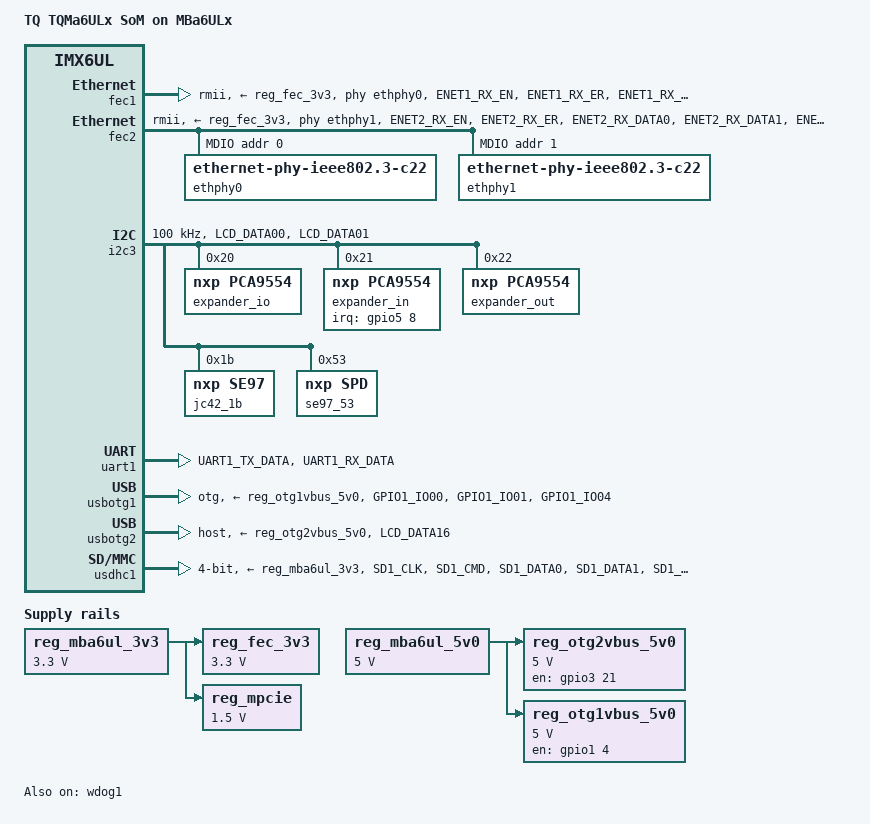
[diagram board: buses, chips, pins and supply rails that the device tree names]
// SPDX-License-Identifier: (GPL-2.0-or-later OR MIT)
/*
 * Copyright 2016 TQ Systems GmbH
 * Author: Marco Felsch
 */

/dts-v1/;

#include <dt-bindings/input/input.h>
#include "imx6ul-tqma6ulx.dtsi"

/ {
	model = "TQ TQMa6ULx SoM on MBa6ULx";
	compatible = "tq,mba6ulx", "tq,imx6ul-tqma6ul2l", "fsl,imx6ul";

	chosen {
		stdout-path = &uart1;
	};

	reg_mba6ul_3v3: regulator-mba6ul-3v3 {
		compatible = "regulator-fixed";
		regulator-name = "supply-mba6ul-3v3";
		regulator-min-microvolt = <3300000>;
		regulator-max-microvolt = <3300000>;
		regulator-always-on;
	};

	reg_mba6ul_5v0: regulator-mba6ul-5v0 {
		compatible = "regulator-fixed";
		regulator-name = "supply-mba6ul-5v0";
		regulator-min-microvolt = <5000000>;
		regulator-max-microvolt = <5000000>;
		regulator-always-on;
	};

	reg_otg2vbus_5v0: regulator-otg2-vbus-5v0 {
		compatible = "regulator-fixed";
		gpio = <&gpio3 21 GPIO_ACTIVE_HIGH>;
		enable-active-high;
		regulator-name = "otg2-vbus-supply-5v0";
		regulator-min-microvolt = <5000000>;
		regulator-max-microvolt = <5000000>;
		vin-supply = <&reg_mba6ul_5v0>;
	};

	reg_otg1vbus_5v0: regulator-otg1-vbus-5v0 {
		compatible = "regulator-fixed";
		gpio = <&gpio1 4 GPIO_ACTIVE_HIGH>;
		enable-active-high;
		regulator-name = "otg1-vbus-supply-5v0";
		regulator-min-microvolt = <5000000>;
		regulator-max-microvolt = <5000000>;
		vin-supply = <&reg_mba6ul_5v0>;
	};

	reg_fec_3v3: regulator-fec-3v3 {
		compatible = "regulator-fixed";
		regulator-name = "fec-3v3";
		regulator-min-microvolt = <3300000>;
		regulator-max-microvolt = <3300000>;
		regulator-always-on;
		vin-supply = <&reg_mba6ul_3v3>;
	};

	reg_mpcie: regulator-mpcie-1v5 {
		compatible = "regulator-fixed";
		pinctrl-names = "default";
		regulator-name = "mpcie-1v5";
		/* gpio = <&gpio1 3 GPIO_ACTIVE_HIGH>; */
		enable-active-high;
		regulator-min-microvolt = <1500000>;
		regulator-max-microvolt = <1500000>;
		vin-supply = <&reg_mba6ul_3v3>;
	};
};

&fec1 {
	pinctrl-names = "default";
	pinctrl-0 = <&pinctrl_enet1>;
	phy-mode = "rmii";
	phy-handle = <&ethphy0>;
	phy-supply = <&reg_fec_3v3>;
	phy-reset-gpios = <&gpio3 9 GPIO_ACTIVE_LOW>;
	phy-reset-duration = <26>;
	status = "okay";
};

&fec2 {
	pinctrl-names = "default";
	pinctrl-0 = <&pinctrl_enet2>;
	phy-mode = "rmii";
	phy-handle = <&ethphy1>;
	phy-supply = <&reg_fec_3v3>;
	phy-reset-gpios = <&gpio3 10 GPIO_ACTIVE_HIGH>;
	phy-reset-duration = <26>;
	status = "okay";

	mdio {
		#address-cells = <1>;
		#size-cells = <0>;

		ethphy0: ethernet-phy@0 {
			compatible = "ethernet-phy-ieee802.3-c22";
			max-speed = <100>;
			reg = <0>;
			/* ToDo: check if following 2 lines are required */
			clocks = <&clks IMX6UL_CLK_ENET_REF>;
			clock-names = "rmii-ref";
		};

		ethphy1: ethernet-phy@1 {
			compatible = "ethernet-phy-ieee802.3-c22";
			max-speed = <100>;
			reg = <1>;
			/* ToDo: check if following 2 lines are required */
			clocks = <&clks IMX6UL_CLK_ENET2_REF>;
			clock-names = "rmii-ref";
		};
	};
};

&i2c3 {
	clock-frequency = <100000>;
	pinctrl-names = "default";
	pinctrl-0 = <&pinctrl_i2c3>;
	status = "okay";

	expander_io: gpio-expander@20 {
		compatible = "nxp,pca9554";
		reg = <0x20>;
		gpio-controller;
		#gpio-cells = <2>;
		status = "okay";
	};

	expander_in: gpio-expander@21 {
		compatible = "nxp,pca9554";
		reg = <0x21>;
		pinctrl-names = "default";
		pinctrl-0 = <&pinctrl_expander_irq>;
		interrupt-parent = <&gpio5>;
		interrupts = <8 IRQ_TYPE_LEVEL_LOW>;
		interrupt-controller;
		#interrupt-cells = <2>;
		gpio-controller;
		#gpio-cells = <2>;
		status = "okay";
	};

	expander_out: gpio-expander@22 {
		compatible = "nxp,pca9554";
		reg = <0x22>;
		gpio-controller;
		#gpio-cells = <2>;
		status = "okay";
	};


	/* NXP SE97BTP with temperature sensor + eeprom */
	jc42_1b: eeprom-temperature-sensor@1b {
		compatible = "nxp,se97", "jedec,jc-42.4-temp";
		reg = <0x1b>;
		status = "okay";
	};

	se97_53: eeprom-temperature-sensor@53 {
		compatible = "nxp,spd";
		reg = <0x53>;
		pagesize = <16>;
		status = "okay";
	};

};


&iomuxc {
	pinctrl-names = "default";

	pinctrl_i2c3: i2c3grp {
		fsl,pins = <
			MX6UL_PAD_LCD_DATA00__I2C3_SDA	0x4001b8b0
			MX6UL_PAD_LCD_DATA01__I2C3_SCL	0x4001b8b0
		>;
	};

	pinctrl_enet1: enet1grp {
		fsl,pins = <
			MX6UL_PAD_ENET1_RX_EN__ENET1_RX_EN	0x1b0b0
			MX6UL_PAD_ENET1_RX_ER__ENET1_RX_ER	0x1b0b0
			MX6UL_PAD_ENET1_RX_DATA0__ENET1_RDATA00	0x1b0b0
			MX6UL_PAD_ENET1_RX_DATA1__ENET1_RDATA01	0x1b0b0
			MX6UL_PAD_ENET1_TX_DATA0__ENET1_TDATA00	0x1b0b0
			MX6UL_PAD_ENET1_TX_DATA1__ENET1_TDATA01	0x1b0b0
			MX6UL_PAD_ENET1_TX_EN__ENET1_TX_EN	0x1b0b0
			MX6UL_PAD_ENET1_TX_CLK__ENET1_REF_CLK1	0x4001b0a8
		>;
	};

	pinctrl_enet2: enet2grp {
		fsl,pins = <
			MX6UL_PAD_ENET2_RX_EN__ENET2_RX_EN	0x1b0b0
			MX6UL_PAD_ENET2_RX_ER__ENET2_RX_ER	0x1b0b0
			MX6UL_PAD_ENET2_RX_DATA0__ENET2_RDATA00	0x1b0b0
			MX6UL_PAD_ENET2_RX_DATA1__ENET2_RDATA01	0x1b0b0
			MX6UL_PAD_ENET2_TX_DATA0__ENET2_TDATA00	0x1b0a0
			MX6UL_PAD_ENET2_TX_DATA1__ENET2_TDATA01	0x1b0a0
			MX6UL_PAD_ENET2_TX_EN__ENET2_TX_EN	0x1b0b0
			MX6UL_PAD_ENET2_TX_CLK__ENET2_REF_CLK2	0x4001b0a8
			/* mdio */
			MX6UL_PAD_GPIO1_IO07__ENET2_MDC		0x1b0b0
			MX6UL_PAD_GPIO1_IO06__ENET2_MDIO	0x1b0b0
		>;
	};

	pinctrl_expander_irq: expanderirqgrp {
		fsl,pins = <
			MX6UL_PAD_SNVS_TAMPER8__GPIO5_IO08	0x1b0b1
		>;
	};

	pinctrl_uart1: uart1grp {
		fsl,pins = <
			MX6UL_PAD_UART1_TX_DATA__UART1_DCE_TX	0x1b0b1
			MX6UL_PAD_UART1_RX_DATA__UART1_DCE_RX	0x1b0b1
		>;
	};

	pinctrl_usb_otg1: usbotg1grp {
		fsl,pins = <
			MX6UL_PAD_GPIO1_IO00__ANATOP_OTG1_ID	0x00017059
			MX6UL_PAD_GPIO1_IO01__USB_OTG1_OC	0x0001b0b0
			/* PWR */
			MX6UL_PAD_GPIO1_IO04__GPIO1_IO04	0x0001b099
		>;
	};

	pinctrl_usb_otg2: usbotg2grp {
		fsl,pins = <
			/* reset */
			MX6UL_PAD_LCD_DATA16__GPIO3_IO21	0x0001b099
		>;
	};

	pinctrl_usdhc1: usdhc1grp {
		fsl,pins = <
			MX6UL_PAD_SD1_CLK__USDHC1_CLK		0x00017069
			MX6UL_PAD_SD1_CMD__USDHC1_CMD		0x00017059
			MX6UL_PAD_SD1_DATA0__USDHC1_DATA0	0x00017059
			MX6UL_PAD_SD1_DATA1__USDHC1_DATA1	0x00017059
			MX6UL_PAD_SD1_DATA2__USDHC1_DATA2	0x00017059
			MX6UL_PAD_SD1_DATA3__USDHC1_DATA3	0x00017059
			/* CD */
			MX6UL_PAD_UART1_RTS_B__GPIO1_IO19		0x0001b099
		>;
	};

	pinctrl_usdhc1_100mhz: usdhc1grp100mhz {
		fsl,pins = <
			MX6UL_PAD_SD1_CLK__USDHC1_CLK		0x00017069
			MX6UL_PAD_SD1_CMD__USDHC1_CMD		0x000170b9
			MX6UL_PAD_SD1_DATA0__USDHC1_DATA0	0x000170b9
			MX6UL_PAD_SD1_DATA1__USDHC1_DATA1	0x000170b9
			MX6UL_PAD_SD1_DATA2__USDHC1_DATA2	0x000170b9
			MX6UL_PAD_SD1_DATA3__USDHC1_DATA3	0x000170b9
			/* CD */
			MX6UL_PAD_UART1_RTS_B__GPIO1_IO19		0x0001b099
		>;
	};

	pinctrl_usdhc1_200mhz: usdhc1grp200mhz {
		fsl,pins = <
			MX6UL_PAD_SD1_CLK__USDHC1_CLK		0x00017069
			MX6UL_PAD_SD1_CMD__USDHC1_CMD		0x000170f9
			MX6UL_PAD_SD1_DATA0__USDHC1_DATA0	0x000170f9
			MX6UL_PAD_SD1_DATA1__USDHC1_DATA1	0x000170f9
			MX6UL_PAD_SD1_DATA2__USDHC1_DATA2	0x000170f9
			MX6UL_PAD_SD1_DATA3__USDHC1_DATA3	0x000170f9
			/* CD */
			MX6UL_PAD_UART1_RTS_B__GPIO1_IO19		0x0001b099
		>;
	};

	pinctrl_wdog1: wdog1grp {
		fsl,pins = <
			MX6UL_PAD_GPIO1_IO08__WDOG1_WDOG_B	0x0001b099
		>;
	};
};

&uart1 {
	pinctrl-names = "default";
	pinctrl-0 = <&pinctrl_uart1>;
	status = "okay";
};

/* otg-port */
&usbotg1 {
	pinctrl-names = "default";
	pinctrl-0 = <&pinctrl_usb_otg1>;
	vbus-supply = <&reg_otg1vbus_5v0>;
	dr_mode = "otg";
	status = "okay";
};

/* 7-port usb hub */
/* id, pwr, oc pins not connected */
&usbotg2 {
	pinctrl-names = "default";
	pinctrl-0 = <&pinctrl_usb_otg2>;
	disable-over-current;
	vbus-supply = <&reg_otg2vbus_5v0>;
	dr_mode = "host";
	status = "okay";
};

&usdhc1 {
	pinctrl-names = "default";
	pinctrl-0 = <&pinctrl_usdhc1>;
	cd-gpios = <&gpio1 19 GPIO_ACTIVE_LOW>;
	disable-wp;
	bus-width = <4>;
	vmmc-supply = <&reg_mba6ul_3v3>;
	vqmmc-supply = <&reg_vccsd>;
	no-1-8-v;
	status = "okay";
};

&wdog1 {
	pinctrl-names = "default";
	pinctrl-0 = <&pinctrl_wdog1>;
	fsl,ext-reset-output;
	status = "okay";
};
